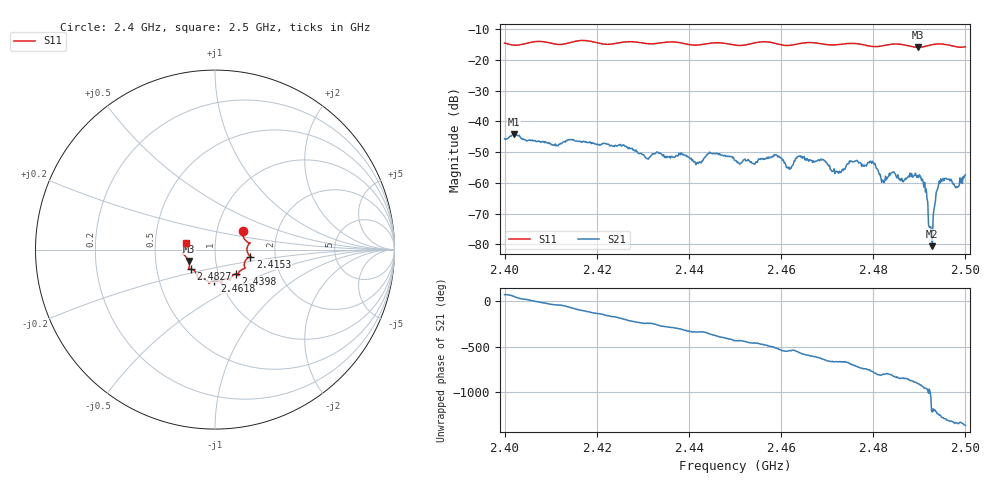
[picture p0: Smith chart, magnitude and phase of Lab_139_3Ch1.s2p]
# Hz S RI R 50
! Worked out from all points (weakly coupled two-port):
!   601 points, 2.4 GHz to 2.5 GHz, reference 50 ohm
!   highest |S21| = -44.13 dB at 2.402 GHz (marker M1); lowest = -80.6 dB at 2.4928 GHz (marker M2)
!   lowest |S11| = -15.9 dB at 2.4897 GHz (marker M3), VSWR 1.38, Z = 36.9 - j4.82 ohm
!   |S11| at or under -10 dB: start of sweep to end of sweep
!   S12 and S22 are empty: the file has one direction only
!   S11 on the Smith chart (normalised r, x): 2.4 GHz: 1.33, +0.29; 2.4153 GHz: 1.48, -0.12; 2.4398 GHz: 1.21, -0.34; 2.4618 GHz: 0.94, -0.33; 2.4827 GHz: 0.75, -0.17; 2.5 GHz: 0.72, +0.06
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2.4e9  0.155 0.1063  0.00141 0.00501  0 0  0 0
2.402e9  0.1572 0.074  0.00368 0.00501  0 0  0 0
2.415333e9  0.1967 -0.0392  0.000603 -0.00475  0 0  0 0
2.416667e9  0.2025 -0.0432  -0.000728 -0.00449  0 0  0 0
2.433333e9  0.1302 -0.1339  -0.000408 0.00308  0 0  0 0
2.439833e9  0.1155 -0.1363  0.00214 0.0015  0 0  0 0
2.45e9  0.0648 -0.162  0.000781 -0.00218  0 0  0 0
2.459e9  0.031 -0.1811  -0.00253 -0.00126  0 0  0 0
2.461833e9  -0.003 -0.1724  -0.00165 8.19e-05  0 0  0 0
2.466667e9  -0.0342 -0.1881  -0.00114 0.00201  0 0  0 0
2.472167e9  -0.072 -0.1612  0.000833 0.00124  0 0  0 0
2.479833e9  -0.1087 -0.1246  0.00137 -0.00177  0 0  0 0
2.482667e9  -0.135 -0.1087  0.000256 -0.00126  0 0  0 0
2.483333e9  -0.1401 -0.1083  0.000203 -0.00125  0 0  0 0
2.489667e9  -0.1471 -0.0636  -0.00131 0.000105  0 0  0 0
2.491e9  -0.1581 -0.045  -0.000493 0.000694  0 0  0 0
2.492333e9  -0.1708 -0.0311  2.21e-05 0.000188  0 0  0 0
2.492833e9  -0.1746 -0.0273  -6.75e-05 -6.4e-05  0 0  0 0
2.493833e9  -0.18 -0.0226  -0.000678 -0.000325  0 0  0 0
2.494667e9  -0.1803 -0.0201  -0.00116 4.08e-05  0 0  0 0
2.498167e9  -0.1628 0.00727  -0.000161 0.000855  0 0  0 0
2.5e9  -0.159 0.0386  0.000355 0.0013  0 0  0 0
